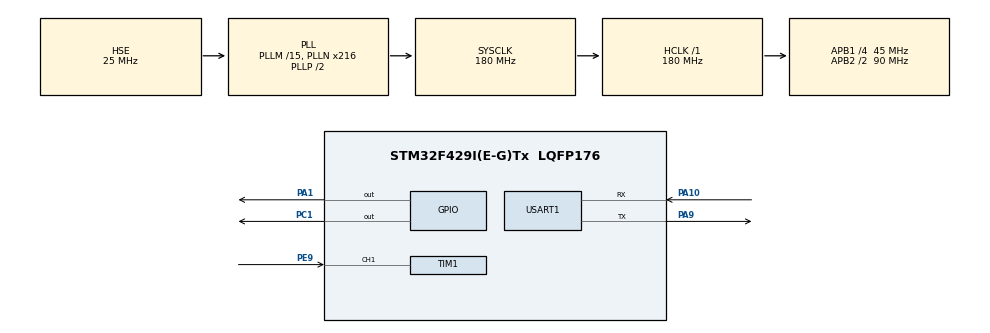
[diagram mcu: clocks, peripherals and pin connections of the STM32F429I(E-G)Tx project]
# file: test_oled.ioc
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Mcu.Family=STM32F4
Mcu.Name=STM32F429I(E-G)Tx
Mcu.Package=LQFP176
NVIC.PriorityGroup=NVIC_PRIORITYGROUP_4
NVIC.USART1_IRQn=true\:0\:0\:false\:false\:true\:true\:true\:true
PA1.Signal=GPIO_Output
PA10.Mode=Asynchronous
PA10.Signal=USART1_RX
PA9.Mode=Asynchronous
PA9.Signal=USART1_TX
PC1.Signal=GPIO_Output
PE9.Signal=S_TIM1_CH1
PH0/OSC_IN.Mode=HSE-External-Oscillator
PH0/OSC_IN.Signal=RCC_OSC_IN
PH1/OSC_OUT.Mode=HSE-External-Oscillator
PH1/OSC_OUT.Signal=RCC_OSC_OUT
ProjectManager.HeapSize=0x200
ProjectManager.StackSize=0x400
ProjectManager.TargetToolchain=MDK-ARM V5.32
RCC.48MHZClocksFreq_Value=90000000
RCC.AHBFreq_Value=180000000
RCC.APB1CLKDivider=RCC_HCLK_DIV4
RCC.APB1Freq_Value=45000000
RCC.APB1TimFreq_Value=90000000
RCC.APB2CLKDivider=RCC_HCLK_DIV2
RCC.APB2Freq_Value=90000000
RCC.APB2TimFreq_Value=180000000
RCC.CortexFreq_Value=180000000
RCC.HCLKFreq_Value=180000000
RCC.HSE_VALUE=25000000
RCC.HSI_VALUE=16000000
RCC.LSE_VALUE=32768
RCC.PLLM=15
RCC.PLLN=216
RCC.PLLSourceVirtual=RCC_PLLSOURCE_HSE
RCC.SYSCLKFreq_VALUE=180000000
RCC.SYSCLKSource=RCC_SYSCLKSOURCE_PLLCLK
RCC.VCOOutputFreq_Value=360000000
SH.S_TIM1_CH1.0=TIM1_CH1,Input_Capture1_from_TI1
TIM1.AutoReloadPreload=TIM_AUTORELOAD_PRELOAD_ENABLE
TIM1.Channel-Input_Capture1_from_TI1=TIM_CHANNEL_1
TIM1.Channel-Input_Capture2_from_TI1_63=TIM_CHANNEL_2
TIM1.ICPolarity_CH2=TIM_INPUTCHANNELPOLARITY_FALLING
TIM1.Prescaler=179
TIM7.Period=1
TIM7.Prescaler=89
USART1.VirtualMode=VM_ASYNC
VP_TIM1_VS_ClockSourceINT.Mode=Internal
VP_TIM1_VS_indirect_ch1.Mode=Input_Capture2_from_TI1_63
VP_TIM7_VS_ClockSourceINT.Mode=Enable_Timer
board=custom

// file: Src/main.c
/* USER CODE BEGIN Header */
/**
  ******************************************************************************
  * @file           : main.c
  * @brief          : Main program body
  ******************************************************************************
  * @attention
  *
  * <h2><center>&copy; Copyright (c) 2024 STMicroelectronics.
  * All rights reserved.</center></h2>
  *
  * This software component is licensed by ST under BSD 3-Clause license,
  * the "License"; You may not use this file except in compliance with the
  * License. You may obtain a copy of the License at:
  *                        opensource.org/licenses/BSD-3-Clause
  *
  ******************************************************************************
  */
/* USER CODE END Header */
#include "main.h"
#include "tim.h"
#include "usart.h"
#include "gpio.h"

/* USER CODE BEGIN Includes */
#include "stdio.h"
#include "oled.h"
#include "i2c_hal.h"
#include "math.h"
#include "string.h"
#include "stdlib.h"
/* USER CODE END Includes */

/* USER CODE BEGIN PV */
uint8_t recvData[4] = {0};
float threshold = 0.1f; //阈值
/* USER CODE END PV */

void SystemClock_Config(void);
/* USER CODE BEGIN PFP */
void HAL_UART_RxCpltCallback(UART_HandleTypeDef *huart)
{
  if(huart->Instance == USART1)
	{
		threshold = atof((const char*)recvData);
		char buffer[50];  // 定义足够大的缓冲区来存放距离的字符串
		sprintf(buffer, "Thresold: %.2f m\r\n", threshold);  // 格式化距离数据到字符串
		HAL_UART_Transmit(&huart1, (uint8_t*)buffer, strlen(buffer), HAL_MAX_DELAY);  // 发送到串口
		//继续接收
		HAL_UART_Receive_IT(&huart1,recvData,sizeof(recvData)-1);
	}
}
/* USER CODE END PFP */

int main(void)
{

  /* MCU Configuration--------------------------------------------------------*/

  /* Reset of all peripherals, Initializes the Flash interface and the Systick. */
  HAL_Init();

  /* Configure the system clock */
  SystemClock_Config();

  /* Initialize all configured peripherals */
  MX_GPIO_Init();
  MX_TIM7_Init();
  MX_TIM1_Init();
  MX_USART1_UART_Init();
  /* USER CODE BEGIN 2 */
  IIC_Init();
  OLED_Init();

  OLED_Clear();

	OLED_ShowString(0,0, (uint8_t *)"Hello World!", 15);
	OLED_ShowString(0,10, (uint8_t *)"Festival Happy!", 15);
	OLED_ShowString(0,12, (uint8_t *)"Weekend Happy!", 15);
	OLED_ShowString(0,14, (uint8_t *)"Week Happy!", 15);
  /* USER CODE END 2 */

  /* Infinite loop */
  /* USER CODE BEGIN WHILE */
	HAL_UART_Receive_IT(&huart1,recvData,sizeof(recvData)-1);
  while (1)
  {
		// 1、让定时器CNT计数器清零
		__HAL_TIM_SET_COUNTER(&htim1,0);
		// 2、清除CCR1和CCR2标志位
		__HAL_TIM_CLEAR_FLAG(&htim1,TIM_FLAG_CC1);
		__HAL_TIM_CLEAR_FLAG(&htim1,TIM_FLAG_CC2);

		// 3、启动定时器
		HAL_TIM_IC_Start(&htim1,TIM_CHANNEL_1);
		HAL_TIM_IC_Start(&htim1,TIM_CHANNEL_2);

		// 4、发送脉冲
		HAL_GPIO_WritePin(GPIOA,GPIO_PIN_1,GPIO_PIN_SET);
		for(uint16_t idx  = 0;idx <= 2000;idx++); //消耗11个指令周期
		HAL_GPIO_WritePin(GPIOA,GPIO_PIN_1,GPIO_PIN_RESET);

		// 5、等待测量结束 - 轮询检查标志位
		uint8_t CC1Flag = 0;
		uint8_t IsSuccess = 0;
		uint32_t endTime = HAL_GetTick() + 50; //写50是为了确保大于38ms
		while( endTime > HAL_GetTick() )
		{
			//检测CC1和CC2的标志位
			if(__HAL_TIM_GET_FLAG(&htim1,TIM_FLAG_CC1) == 1 && CC1Flag != 1)
			{
				CC1Flag = 1;
			}
			if(__HAL_TIM_GET_FLAG(&htim1,TIM_FLAG_CC2) == 1 && CC1Flag == 1)
			{
				//测量成功
				IsSuccess = 1;
				//测量结束
				break;
			}
		}

		// 6、关闭定时器
		HAL_TIM_IC_Stop(&htim1,TIM_CHANNEL_1);
		HAL_TIM_IC_Stop(&htim1,TIM_CHANNEL_2);

		// 7、计算距离
		if(IsSuccess == 1)
		{
			uint16_t ccr1 = __HAL_TIM_GET_COMPARE(&htim1,TIM_CHANNEL_1);
			uint16_t ccr2 = __HAL_TIM_GET_COMPARE(&htim1,TIM_CHANNEL_2);

			float pulseWidth = (ccr2 - ccr1) * 1e-6f; //脉冲宽度（秒）
			float distance = (pulseWidth * 340.0f) / 2.0f;
//			uint16_t distance = (pulseWidth * 34000) / 2;
			if(distance < threshold)
			{
				char buffer[50];  // 定义足够大的缓冲区来存放距离的字符串
				sprintf(buffer, "Distance: %.2f m\r\n", distance);  // 格式化距离数据到字符串
				HAL_UART_Transmit(&huart1, (uint8_t*)buffer, strlen(buffer), HAL_MAX_DELAY);  // 发送到串口
				HAL_GPIO_WritePin(GPIOC,GPIO_PIN_1,GPIO_PIN_SET);
			}
			else
			{
				HAL_GPIO_WritePin(GPIOC,GPIO_PIN_1,GPIO_PIN_RESET);
			}
		}
    /* USER CODE END WHILE */

  }
}

void SystemClock_Config(void)
{
  RCC_OscInitTypeDef RCC_OscInitStruct = {0};
  RCC_ClkInitTypeDef RCC_ClkInitStruct = {0};

  /** Configure the main internal regulator output voltage
  */
  __HAL_RCC_PWR_CLK_ENABLE();
  __HAL_PWR_VOLTAGESCALING_CONFIG(PWR_REGULATOR_VOLTAGE_SCALE1);

  /** Initializes the RCC Oscillators according to the specified parameters
  * in the RCC_OscInitTypeDef structure.
  */
  RCC_OscInitStruct.OscillatorType = RCC_OSCILLATORTYPE_HSE;
  RCC_OscInitStruct.HSEState = RCC_HSE_ON;
  RCC_OscInitStruct.PLL.PLLState = RCC_PLL_ON;
  RCC_OscInitStruct.PLL.PLLSource = RCC_PLLSOURCE_HSE;
  RCC_OscInitStruct.PLL.PLLM = 15;
  RCC_OscInitStruct.PLL.PLLN = 216;
  RCC_OscInitStruct.PLL.PLLP = RCC_PLLP_DIV2;
  RCC_OscInitStruct.PLL.PLLQ = 4;
  if (HAL_RCC_OscConfig(&RCC_OscInitStruct) != HAL_OK)
  {
    Error_Handler();
  }

  /** Activate the Over-Drive mode
  */
  if (HAL_PWREx_EnableOverDrive() != HAL_OK)
  {
    Error_Handler();
  }

  /** Initializes the CPU, AHB and APB buses clocks
  */
  RCC_ClkInitStruct.ClockType = RCC_CLOCKTYPE_HCLK|RCC_CLOCKTYPE_SYSCLK
                              |RCC_CLOCKTYPE_PCLK1|RCC_CLOCKTYPE_PCLK2;
  RCC_ClkInitStruct.SYSCLKSource = RCC_SYSCLKSOURCE_PLLCLK;
  RCC_ClkInitStruct.AHBCLKDivider = RCC_SYSCLK_DIV1;
  RCC_ClkInitStruct.APB1CLKDivider = RCC_HCLK_DIV4;
  RCC_ClkInitStruct.APB2CLKDivider = RCC_HCLK_DIV2;

  if (HAL_RCC_ClockConfig(&RCC_ClkInitStruct, FLASH_LATENCY_5) != HAL_OK)
  {
    Error_Handler();
  }
}

void Error_Handler(void)
{
}
